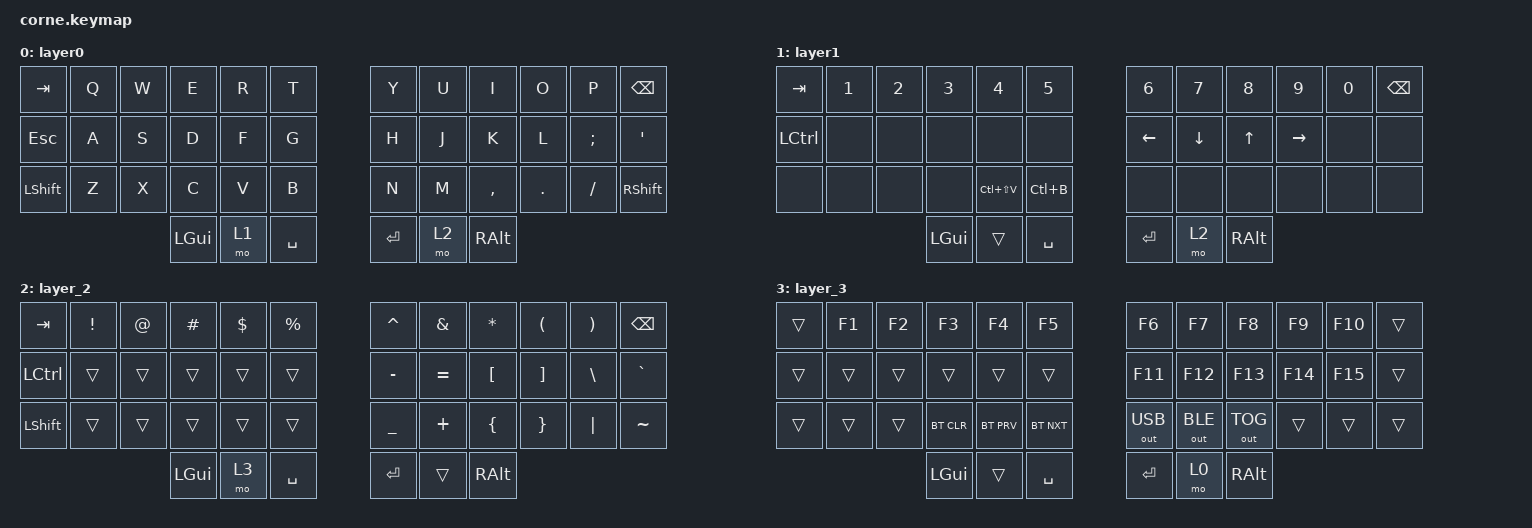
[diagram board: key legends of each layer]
/*
  * Copyright (c) 2020 The ZMK Contributors
  *
  * SPDX-License-Identifier: MIT
  */

#include <behaviors.dtsi>
#include <dt-bindings/zmk/bt.h>
#include <dt-bindings/zmk/keys.h>
#include <dt-bindings/zmk/outputs.h>

/ {
    keymap {
        compatible = "zmk,keymap";

        layer0 {
            bindings = <
&kp TAB         &kp Q  &kp W  &kp E         &kp R  &kp T        &kp Y      &kp U  &kp I          &kp O       &kp P          &kp BACKSPACE
&kp ESCAPE      &kp A  &kp S  &kp D         &kp F  &kp G        &kp H      &kp J  &kp K          &kp L       &kp SEMICOLON  &kp SQT
&kp LEFT_SHIFT  &kp Z  &kp X  &kp C         &kp V  &kp B        &kp N      &kp M  &kp COMMA      &kp PERIOD  &kp SLASH      &kp RIGHT_SHIFT
                              &kp LEFT_GUI  &mo 1  &kp SPACE    &kp ENTER  &mo 2  &kp RIGHT_ALT
            >;
        };

        layer1 {
            bindings = <
&kp TAB           &kp NUMBER_1  &kp NUMBER_2  &kp NUMBER_3  &kp NUMBER_4   &kp N5       &kp NUMBER_6    &kp N7          &kp N8         &kp N9           &kp N0  &kp BACKSPACE
&kp LEFT_CONTROL  &none         &none         &none         &none          &none        &kp LEFT_ARROW  &kp DOWN_ARROW  &kp UP_ARROW   &kp RIGHT_ARROW  &none   &none
&none             &none         &none         &none         &kp LC(LS(V))  &kp LC(B)    &none           &none           &none          &none            &none   &none
                                              &kp LEFT_GUI  &trans         &kp SPACE    &kp ENTER       &mo 2           &kp RIGHT_ALT
            >;
        };

        layer_2 {
            bindings = <
&kp TAB           &kp EXCLAMATION  &kp AT_SIGN  &kp HASH      &kp DOLLAR  &kp PERCENT    &kp CARET       &kp AMPERSAND  &kp ASTERISK      &kp LEFT_PARENTHESIS  &kp RIGHT_PARENTHESIS  &kp BACKSPACE
&kp LEFT_CONTROL  &trans           &trans       &trans        &trans      &trans         &kp MINUS       &kp EQUAL      &kp LEFT_BRACKET  &kp RIGHT_BRACKET     &kp BACKSLASH          &kp GRAVE
&kp LEFT_SHIFT    &trans           &trans       &trans        &trans      &trans         &kp UNDERSCORE  &kp PLUS       &kp LEFT_BRACE    &kp RIGHT_BRACE       &kp PIPE               &kp TILDE
                                                &kp LEFT_GUI  &mo 3       &kp SPACE      &kp ENTER       &trans         &kp RIGHT_ALT
            >;
        };

        layer_3 {
            bindings = <
&trans  &kp F1  &kp F2  &kp F3        &kp F4      &kp F5        &kp F6        &kp F7        &kp F8         &kp F9   &kp F10  &trans
&trans  &trans  &trans  &trans        &trans      &trans        &kp F11       &kp F12       &kp F13        &kp F14  &kp F15  &trans
&trans  &trans  &trans  &bt BT_CLR    &bt BT_PRV  &bt BT_NXT    &out OUT_USB  &out OUT_BLE  &out OUT_TOG   &trans   &trans   &trans
                        &kp LEFT_GUI  &trans      &kp SPACE     &kp ENTER     &mo 0         &kp RIGHT_ALT
            >;
        };
    };
};
